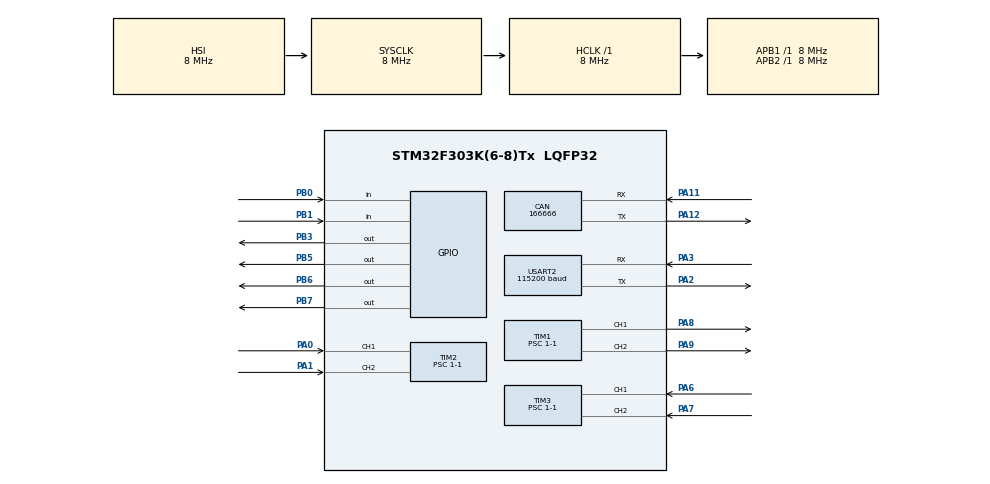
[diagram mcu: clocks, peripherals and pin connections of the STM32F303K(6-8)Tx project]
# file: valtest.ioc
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Mcu.Family=STM32F3
RCC.CortexFreq_Value=8000000
TIM3.AutoReloadPreload=TIM_AUTORELOAD_PRELOAD_ENABLE
CAN.CalculateBaudRate=166666
TIM3.EncoderMode=TIM_ENCODERMODE_TI12
PA11.Mode=CAN_Activate
TIM2.EncoderMode=TIM_ENCODERMODE_TI12
NVIC.TIM7_DAC2_IRQn=true\:0\:0\:false\:false\:true\:true\:true
NVIC.USART2_IRQn=true\:0\:0\:false\:false\:true\:true\:true
USART2.BaudRate=115200
CAN.CalculateTimeBit=6000.00
ProjectManager.StackSize=0x400
VP_TIM7_VS_ClockSourceINT.Mode=Enable_Timer
PA3.Mode=Asynchronous
TIM1.AutoReloadPreload=TIM_AUTORELOAD_PRELOAD_ENABLE
SH.S_TIM2_CH2.0=TIM2_CH2,Encoder_Interface
PA12.Signal=CAN_TX
TIM1.Prescaler=1-1
SH.S_TIM1_CH1.0=TIM1_CH1,PWM Generation1 CH1
ProjectManager.TargetToolchain=STM32CubeIDE
PA9.Signal=S_TIM1_CH2
PB6.Signal=GPIO_Output
TIM1.Channel-PWM\ Generation2\ CH2=TIM_CHANNEL_2
PA1.Signal=S_TIM2_CH2
RCC.AHBFreq_Value=8000000
SH.S_TIM3_CH2.0=TIM3_CH2,Encoder_Interface
RCC.HSE_VALUE=8000000
TIM7.Prescaler=10
board=NUCLEO-F303K8
USART2.VirtualMode-Asynchronous=VM_ASYNC
RCC.APB2Freq_Value=8000000
SH.S_TIM1_CH2.0=TIM1_CH2,PWM Generation2 CH2
TIM1.Channel-PWM\ Generation1\ CH1=TIM_CHANNEL_1
TIM3.Prescaler=1-1
PB7.Signal=GPIO_Output
PA8.Signal=S_TIM1_CH1
SH.S_TIM3_CH1.0=TIM3_CH1,Encoder_Interface
TIM2.Period=65535
Mcu.Name=STM32F303K(6-8)Tx
CAN.CalculateTimeQuantum=2000.0
VP_TIM1_VS_ClockSourceINT.Mode=Internal
PA2.Signal=USART2_TX
PA0.Signal=S_TIM2_CH1_ETR
PB3.Signal=GPIO_Output
RCC.SYSCLKFreq_VALUE=8000000
Mcu.Package=LQFP32
PB5.Signal=GPIO_Output
TIM2.Prescaler=1-1
PA6.Signal=S_TIM3_CH1
PB1.Signal=GPIO_Input
PA12.Mode=CAN_Activate
PA11.Signal=CAN_RX
SH.S_TIM2_CH1_ETR.0=TIM2_CH1,Encoder_Interface
ProjectManager.HeapSize=0x200
RCC.HSI_VALUE=8000000
NVIC.PriorityGroup=NVIC_PRIORITYGROUP_4
PA2.Mode=Asynchronous
TIM2.AutoReloadPreload=TIM_AUTORELOAD_PRELOAD_ENABLE
RCC.APB1Freq_Value=8000000
PB0.Signal=GPIO_Input
PA3.Signal=USART2_RX
PA7.Signal=S_TIM3_CH2

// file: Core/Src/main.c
/* USER CODE BEGIN Header */
/**
  ******************************************************************************
  * @file           : main.c
  * @brief          : Main program body
  ******************************************************************************
  * @attention
  *
  * <h2><center>&copy; Copyright (c) 2021 STMicroelectronics.
  * All rights reserved.</center></h2>
  *
  * This software component is licensed by ST under BSD 3-Clause license,
  * the "License"; You may not use this file except in compliance with the
  * License. You may obtain a copy of the License at:
  *                        opensource.org/licenses/BSD-3-Clause
  *
  ******************************************************************************
  */
/* USER CODE END Header */
#include "main.h"

/* USER CODE BEGIN Includes */
//#include "robot.h"
//#include "pi.h"
//#include "gcode.h"
/* USER CODE END Includes */

CAN_HandleTypeDef hcan;

TIM_HandleTypeDef htim1;
TIM_HandleTypeDef htim2;
TIM_HandleTypeDef htim3;
TIM_HandleTypeDef htim7;

UART_HandleTypeDef huart2;

void SystemClock_Config(void);
static void MX_GPIO_Init(void);
static void MX_TIM2_Init(void);
static void MX_TIM1_Init(void);
static void MX_TIM3_Init(void);
static void MX_TIM7_Init(void);
static void MX_USART2_UART_Init(void);
static void MX_CAN_Init(void);

/* USER CODE BEGIN 0 */
uint8_t byte;
void printf(char* msg) {
	HAL_UART_Transmit(&huart2, msg, sizeof(msg), 100);
}
/* USER CODE END 0 */

int main(void)
{
  /* USER CODE BEGIN 1 */
	  uint8_t MSG[50] = {'\0'};
  /* USER CODE END 1 */

  /* MCU Configuration--------------------------------------------------------*/

  /* Reset of all peripherals, Initializes the Flash interface and the Systick. */
  HAL_Init();

  /* Configure the system clock */
  SystemClock_Config();

  /* Initialize all configured peripherals */
  MX_GPIO_Init();
  MX_TIM2_Init();
  MX_TIM1_Init();
  MX_TIM3_Init();
  MX_TIM7_Init();
  MX_USART2_UART_Init();
  MX_CAN_Init();
  /* USER CODE BEGIN 2 */
  //initialisation
  //HAL_UART_
  HAL_TIM_Encoder_Init(&htim1, TIM_CHANNEL_ALL); //initialisation des encodeurs
  HAL_TIM_Base_Start(&htim7); // active le timer 7
  HAL_UART_Receive_IT (&huart2, &byte, 1);
  //HAL_UART_Receive_IT(&huart2, &byte, 1);
  /* USER CODE END 2 */

  /* Infinite loop */
  /* USER CODE BEGIN WHILE */
  while (1)
  {
	  sprintf(MSG, "All Right\n\r");
	  HAL_UART_Transmit(&huart2, MSG, sizeof(MSG), 100);
	  HAL_Delay(300);
    /* USER CODE END WHILE */

  }
}

void SystemClock_Config(void)
{
  RCC_OscInitTypeDef RCC_OscInitStruct = {0};
  RCC_ClkInitTypeDef RCC_ClkInitStruct = {0};
  RCC_PeriphCLKInitTypeDef PeriphClkInit = {0};

  /** Initializes the RCC Oscillators according to the specified parameters
  * in the RCC_OscInitTypeDef structure.
  */
  RCC_OscInitStruct.OscillatorType = RCC_OSCILLATORTYPE_HSI;
  RCC_OscInitStruct.HSIState = RCC_HSI_ON;
  RCC_OscInitStruct.HSICalibrationValue = RCC_HSICALIBRATION_DEFAULT;
  RCC_OscInitStruct.PLL.PLLState = RCC_PLL_NONE;
  if (HAL_RCC_OscConfig(&RCC_OscInitStruct) != HAL_OK)
  {
    Error_Handler();
  }
  /** Initializes the CPU, AHB and APB buses clocks
  */
  RCC_ClkInitStruct.ClockType = RCC_CLOCKTYPE_HCLK|RCC_CLOCKTYPE_SYSCLK
                              |RCC_CLOCKTYPE_PCLK1|RCC_CLOCKTYPE_PCLK2;
  RCC_ClkInitStruct.SYSCLKSource = RCC_SYSCLKSOURCE_HSI;
  RCC_ClkInitStruct.AHBCLKDivider = RCC_SYSCLK_DIV1;
  RCC_ClkInitStruct.APB1CLKDivider = RCC_HCLK_DIV1;
  RCC_ClkInitStruct.APB2CLKDivider = RCC_HCLK_DIV1;

  if (HAL_RCC_ClockConfig(&RCC_ClkInitStruct, FLASH_LATENCY_0) != HAL_OK)
  {
    Error_Handler();
  }
  PeriphClkInit.PeriphClockSelection = RCC_PERIPHCLK_TIM1;
  PeriphClkInit.Tim1ClockSelection = RCC_TIM1CLK_HCLK;
  if (HAL_RCCEx_PeriphCLKConfig(&PeriphClkInit) != HAL_OK)
  {
    Error_Handler();
  }
}

static void MX_CAN_Init(void)
{

  hcan.Instance = CAN;
  hcan.Init.Prescaler = 16;
  hcan.Init.Mode = CAN_MODE_NORMAL;
  hcan.Init.SyncJumpWidth = CAN_SJW_1TQ;
  hcan.Init.TimeSeg1 = CAN_BS1_1TQ;
  hcan.Init.TimeSeg2 = CAN_BS2_1TQ;
  hcan.Init.TimeTriggeredMode = DISABLE;
  hcan.Init.AutoBusOff = DISABLE;
  hcan.Init.AutoWakeUp = DISABLE;
  hcan.Init.AutoRetransmission = DISABLE;
  hcan.Init.ReceiveFifoLocked = DISABLE;
  hcan.Init.TransmitFifoPriority = DISABLE;
  if (HAL_CAN_Init(&hcan) != HAL_OK)
  {
    Error_Handler();
  }

}

static void MX_TIM1_Init(void)
{

  TIM_ClockConfigTypeDef sClockSourceConfig = {0};
  TIM_MasterConfigTypeDef sMasterConfig = {0};
  TIM_OC_InitTypeDef sConfigOC = {0};
  TIM_BreakDeadTimeConfigTypeDef sBreakDeadTimeConfig = {0};

  htim1.Instance = TIM1;
  htim1.Init.Prescaler = 1-1;
  htim1.Init.CounterMode = TIM_COUNTERMODE_UP;
  htim1.Init.Period = 65535;
  htim1.Init.ClockDivision = TIM_CLOCKDIVISION_DIV1;
  htim1.Init.RepetitionCounter = 0;
  htim1.Init.AutoReloadPreload = TIM_AUTORELOAD_PRELOAD_ENABLE;
  if (HAL_TIM_Base_Init(&htim1) != HAL_OK)
  {
    Error_Handler();
  }
  sClockSourceConfig.ClockSource = TIM_CLOCKSOURCE_INTERNAL;
  if (HAL_TIM_ConfigClockSource(&htim1, &sClockSourceConfig) != HAL_OK)
  {
    Error_Handler();
  }
  if (HAL_TIM_PWM_Init(&htim1) != HAL_OK)
  {
    Error_Handler();
  }
  sMasterConfig.MasterOutputTrigger = TIM_TRGO_RESET;
  sMasterConfig.MasterOutputTrigger2 = TIM_TRGO2_RESET;
  sMasterConfig.MasterSlaveMode = TIM_MASTERSLAVEMODE_DISABLE;
  if (HAL_TIMEx_MasterConfigSynchronization(&htim1, &sMasterConfig) != HAL_OK)
  {
    Error_Handler();
  }
  sConfigOC.OCMode = TIM_OCMODE_PWM1;
  sConfigOC.Pulse = 0;
  sConfigOC.OCPolarity = TIM_OCPOLARITY_HIGH;
  sConfigOC.OCNPolarity = TIM_OCNPOLARITY_HIGH;
  sConfigOC.OCFastMode = TIM_OCFAST_DISABLE;
  sConfigOC.OCIdleState = TIM_OCIDLESTATE_RESET;
  sConfigOC.OCNIdleState = TIM_OCNIDLESTATE_RESET;
  if (HAL_TIM_PWM_ConfigChannel(&htim1, &sConfigOC, TIM_CHANNEL_1) != HAL_OK)
  {
    Error_Handler();
  }
  if (HAL_TIM_PWM_ConfigChannel(&htim1, &sConfigOC, TIM_CHANNEL_2) != HAL_OK)
  {
    Error_Handler();
  }
  sBreakDeadTimeConfig.OffStateRunMode = TIM_OSSR_DISABLE;
  sBreakDeadTimeConfig.OffStateIDLEMode = TIM_OSSI_DISABLE;
  sBreakDeadTimeConfig.LockLevel = TIM_LOCKLEVEL_OFF;
  sBreakDeadTimeConfig.DeadTime = 0;
  sBreakDeadTimeConfig.BreakState = TIM_BREAK_DISABLE;
  sBreakDeadTimeConfig.BreakPolarity = TIM_BREAKPOLARITY_HIGH;
  sBreakDeadTimeConfig.BreakFilter = 0;
  sBreakDeadTimeConfig.Break2State = TIM_BREAK2_DISABLE;
  sBreakDeadTimeConfig.Break2Polarity = TIM_BREAK2POLARITY_HIGH;
  sBreakDeadTimeConfig.Break2Filter = 0;
  sBreakDeadTimeConfig.AutomaticOutput = TIM_AUTOMATICOUTPUT_DISABLE;
  if (HAL_TIMEx_ConfigBreakDeadTime(&htim1, &sBreakDeadTimeConfig) != HAL_OK)
  {
    Error_Handler();
  }
  HAL_TIM_MspPostInit(&htim1);

}

static void MX_TIM2_Init(void)
{

  TIM_Encoder_InitTypeDef sConfig = {0};
  TIM_MasterConfigTypeDef sMasterConfig = {0};

  htim2.Instance = TIM2;
  htim2.Init.Prescaler = 1-1;
  htim2.Init.CounterMode = TIM_COUNTERMODE_UP;
  htim2.Init.Period = 65535;
  htim2.Init.ClockDivision = TIM_CLOCKDIVISION_DIV1;
  htim2.Init.AutoReloadPreload = TIM_AUTORELOAD_PRELOAD_ENABLE;
  sConfig.EncoderMode = TIM_ENCODERMODE_TI12;
  sConfig.IC1Polarity = TIM_ICPOLARITY_RISING;
  sConfig.IC1Selection = TIM_ICSELECTION_DIRECTTI;
  sConfig.IC1Prescaler = TIM_ICPSC_DIV1;
  sConfig.IC1Filter = 0;
  sConfig.IC2Polarity = TIM_ICPOLARITY_RISING;
  sConfig.IC2Selection = TIM_ICSELECTION_DIRECTTI;
  sConfig.IC2Prescaler = TIM_ICPSC_DIV1;
  sConfig.IC2Filter = 0;
  if (HAL_TIM_Encoder_Init(&htim2, &sConfig) != HAL_OK)
  {
    Error_Handler();
  }
  sMasterConfig.MasterOutputTrigger = TIM_TRGO_RESET;
  sMasterConfig.MasterSlaveMode = TIM_MASTERSLAVEMODE_DISABLE;
  if (HAL_TIMEx_MasterConfigSynchronization(&htim2, &sMasterConfig) != HAL_OK)
  {
    Error_Handler();
  }

}

static void MX_TIM3_Init(void)
{

  TIM_Encoder_InitTypeDef sConfig = {0};
  TIM_MasterConfigTypeDef sMasterConfig = {0};

  htim3.Instance = TIM3;
  htim3.Init.Prescaler = 1-1;
  htim3.Init.CounterMode = TIM_COUNTERMODE_UP;
  htim3.Init.Period = 65535;
  htim3.Init.ClockDivision = TIM_CLOCKDIVISION_DIV1;
  htim3.Init.AutoReloadPreload = TIM_AUTORELOAD_PRELOAD_ENABLE;
  sConfig.EncoderMode = TIM_ENCODERMODE_TI12;
  sConfig.IC1Polarity = TIM_ICPOLARITY_RISING;
  sConfig.IC1Selection = TIM_ICSELECTION_DIRECTTI;
  sConfig.IC1Prescaler = TIM_ICPSC_DIV1;
  sConfig.IC1Filter = 0;
  sConfig.IC2Polarity = TIM_ICPOLARITY_RISING;
  sConfig.IC2Selection = TIM_ICSELECTION_DIRECTTI;
  sConfig.IC2Prescaler = TIM_ICPSC_DIV1;
  sConfig.IC2Filter = 0;
  if (HAL_TIM_Encoder_Init(&htim3, &sConfig) != HAL_OK)
  {
    Error_Handler();
  }
  sMasterConfig.MasterOutputTrigger = TIM_TRGO_RESET;
  sMasterConfig.MasterSlaveMode = TIM_MASTERSLAVEMODE_DISABLE;
  if (HAL_TIMEx_MasterConfigSynchronization(&htim3, &sMasterConfig) != HAL_OK)
  {
    Error_Handler();
  }

}

static void MX_TIM7_Init(void)
{

  TIM_MasterConfigTypeDef sMasterConfig = {0};

  htim7.Instance = TIM7;
  htim7.Init.Prescaler = 10;
  htim7.Init.CounterMode = TIM_COUNTERMODE_UP;
  htim7.Init.Period = 65535;
  htim7.Init.AutoReloadPreload = TIM_AUTORELOAD_PRELOAD_DISABLE;
  if (HAL_TIM_Base_Init(&htim7) != HAL_OK)
  {
    Error_Handler();
  }
  sMasterConfig.MasterOutputTrigger = TIM_TRGO_RESET;
  sMasterConfig.MasterSlaveMode = TIM_MASTERSLAVEMODE_DISABLE;
  if (HAL_TIMEx_MasterConfigSynchronization(&htim7, &sMasterConfig) != HAL_OK)
  {
    Error_Handler();
  }
  /* USER CODE BEGIN TIM7_Init 2 */
  HAL_TIM_Base_Start_IT(&htim7);
  /* USER CODE END TIM7_Init 2 */

}

static void MX_USART2_UART_Init(void)
{

  /* USER CODE BEGIN USART2_Init 0 */
	__USART2_CLK_ENABLE();
  /* USER CODE END USART2_Init 0 */

  huart2.Instance = USART2;
  huart2.Init.BaudRate = 115200;
  huart2.Init.WordLength = UART_WORDLENGTH_8B;
  huart2.Init.StopBits = UART_STOPBITS_1;
  huart2.Init.Parity = UART_PARITY_NONE;
  huart2.Init.Mode = UART_MODE_TX_RX;
  huart2.Init.HwFlowCtl = UART_HWCONTROL_NONE;
  huart2.Init.OverSampling = UART_OVERSAMPLING_16;
  huart2.Init.OneBitSampling = UART_ONE_BIT_SAMPLE_DISABLE;
  huart2.AdvancedInit.AdvFeatureInit = UART_ADVFEATURE_NO_INIT;
  if (HAL_UART_Init(&huart2) != HAL_OK)
  {
    Error_Handler();
  }
  /* USER CODE BEGIN USART2_Init 2 */
  HAL_NVIC_SetPriority(USART2_IRQn, 0, 0);
  HAL_NVIC_EnableIRQ(USART2_IRQn);
  /* USER CODE END USART2_Init 2 */

}

static void MX_GPIO_Init(void)
{
  GPIO_InitTypeDef GPIO_InitStruct = {0};

  /* GPIO Ports Clock Enable */
  __HAL_RCC_GPIOA_CLK_ENABLE();
  __HAL_RCC_GPIOB_CLK_ENABLE();

  /*Configure GPIO pin Output Level */
  HAL_GPIO_WritePin(GPIOB, GPIO_PIN_3|GPIO_PIN_5|GPIO_PIN_6|GPIO_PIN_7, GPIO_PIN_RESET);

  /*Configure GPIO pins : PB0 PB1 */
  GPIO_InitStruct.Pin = GPIO_PIN_0|GPIO_PIN_1;
  GPIO_InitStruct.Mode = GPIO_MODE_INPUT;
  GPIO_InitStruct.Pull = GPIO_NOPULL;
  HAL_GPIO_Init(GPIOB, &GPIO_InitStruct);

  /*Configure GPIO pins : PB3 PB5 PB6 PB7 */
  GPIO_InitStruct.Pin = GPIO_PIN_3|GPIO_PIN_5|GPIO_PIN_6|GPIO_PIN_7;
  GPIO_InitStruct.Mode = GPIO_MODE_OUTPUT_PP;
  GPIO_InitStruct.Pull = GPIO_NOPULL;
  GPIO_InitStruct.Speed = GPIO_SPEED_FREQ_LOW;
  HAL_GPIO_Init(GPIOB, &GPIO_InitStruct);

}

/* USER CODE BEGIN 4 */
void HAL_TIM_PeriodElapsedCallback(TIM_HandleTypeDef* htim)
{

    char test[] = "tim7 interruption\n\r";
    HAL_UART_Transmit(&huart2, test, sizeof(test), 100);
}
void HAL_UART_RxCpltCallback(UART_HandleTypeDef *huart)
{
	char test[] = "seial receive\n\r";
	HAL_UART_Transmit(&huart2, test, sizeof(test), 100);

    HAL_UART_Receive_IT(&huart2, &byte, 1);
}
/* USER CODE END 4 */

void Error_Handler(void)
{
  __disable_irq();
  while (1)
  {
  }
}

/************************ (C) COPYRIGHT STMicroelectronics *****END OF FILE****/
